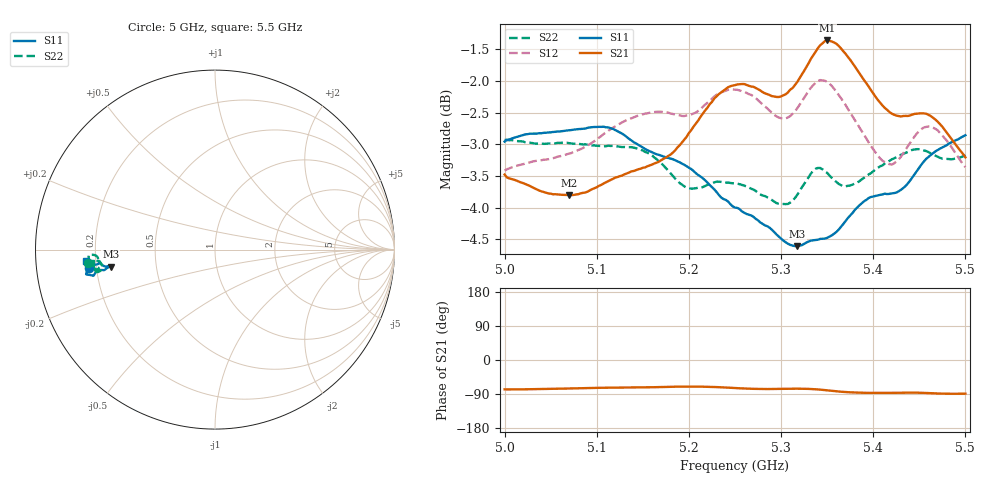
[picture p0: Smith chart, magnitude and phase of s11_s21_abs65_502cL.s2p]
! MS46122B
! 1919307/90821646
! 5/25/2022 1:55:36 PM
! C:\USERS\PC_\DESKTOP\CARACTERIZACION\MEDICIONES\BANCHA ESTRECHA\5_55GHZ\S11_S21_ABS65_502CL.S2P
! CHANNEL.1
! TR.MEASUREMENT
! CORRECTED.DATA
# GHZ S RI R 50.0
! FREQ.GHZ  S11RE  S11IM  S21RE  S21IM  S12RE  S12IM  S22RE  S22IM
!; PortSelection: Port_12
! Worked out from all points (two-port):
!   201 points, 5 GHz to 5.5 GHz, reference 50 ohm
!   highest |S21| = -1.36 dB at 5.35 GHz (marker M1); lowest = -3.8 dB at 5.07 GHz (marker M2)
!   |S21| within 3 dB of the highest: start of sweep to end of sweep
!   lowest |S11| = -4.6 dB at 5.317 GHz (marker M3), VSWR 3.86, Z = 13 - j3.8 ohm
!   |S11| at or under -10 dB: nowhere
!   |S22| runs from -3.9 to -2.9 dB; largest |S21 - S12| = 0.083
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5  -0.7041 -0.1024  0.1467 -0.6538  0.2062 -0.6427  -0.7094 -0.0772
5.07  -0.7151 -0.1273  0.1662 -0.6238  0.2178 -0.6612  -0.7066 -0.0644
5.085  -0.7163 -0.1319  0.1768 -0.6236  0.2218 -0.6673  -0.7056 -0.0555
5.1175  -0.7149 -0.1385  0.1951 -0.6356  0.2262 -0.6937  -0.7048 -0.041
5.1675  -0.6791 -0.1456  0.2172 -0.6507  0.2011 -0.7238  -0.686 -0.0289
5.19  -0.6714 -0.1366  0.2395 -0.665  0.1925 -0.721  -0.6587 -0.0362
5.2125  -0.657 -0.1194  0.2512 -0.7004  0.1989 -0.7278  -0.651 -0.0627
5.23  -0.6392 -0.1134  0.2453 -0.7325  0.1947 -0.7497  -0.6579 -0.0693
5.25  -0.6205 -0.1147  0.2171 -0.7579  0.1673 -0.7638  -0.656 -0.0652
5.2825  -0.6022 -0.1038  0.1808 -0.7554  0.1304 -0.7472  -0.6407 -0.0688
5.305  -0.585 -0.0943  0.1887 -0.7521  0.1415 -0.7283  -0.628 -0.0943
5.3175  -0.5806 -0.0953  0.196 -0.7682  0.1535 -0.74  -0.6356 -0.1144
5.335  -0.5873 -0.0933  0.1894 -0.8106  0.1432 -0.7754  -0.6638 -0.1215
5.35  -0.5904 -0.0903  0.1466 -0.8424  0.1036 -0.7863  -0.6644 -0.1016
5.3675  -0.6052 -0.0941  0.0849 -0.8342  0.0645 -0.7623  -0.6477 -0.1033
5.3825  -0.6248 -0.0889  0.0563 -0.8086  0.052 -0.7331  -0.6509 -0.1114
5.4  -0.6392 -0.0769  0.0419 -0.7755  0.0568 -0.6993  -0.6652 -0.109
5.4175  -0.6432 -0.07  0.043 -0.7497  0.0824 -0.6779  -0.6799 -0.0978
5.44  -0.6577 -0.0824  0.0525 -0.7443  0.1142 -0.7006  -0.6948 -0.0821
5.4625  -0.6901 -0.0771  0.0314 -0.7446  0.0871 -0.7256  -0.6934 -0.0636
5.48  -0.7036 -0.0695  0.0129 -0.7226  0.0591 -0.7101  -0.6861 -0.0679
5.5  -0.717 -0.0636  0.0144 -0.6913  0.0565 -0.6767  -0.6903 -0.0753
